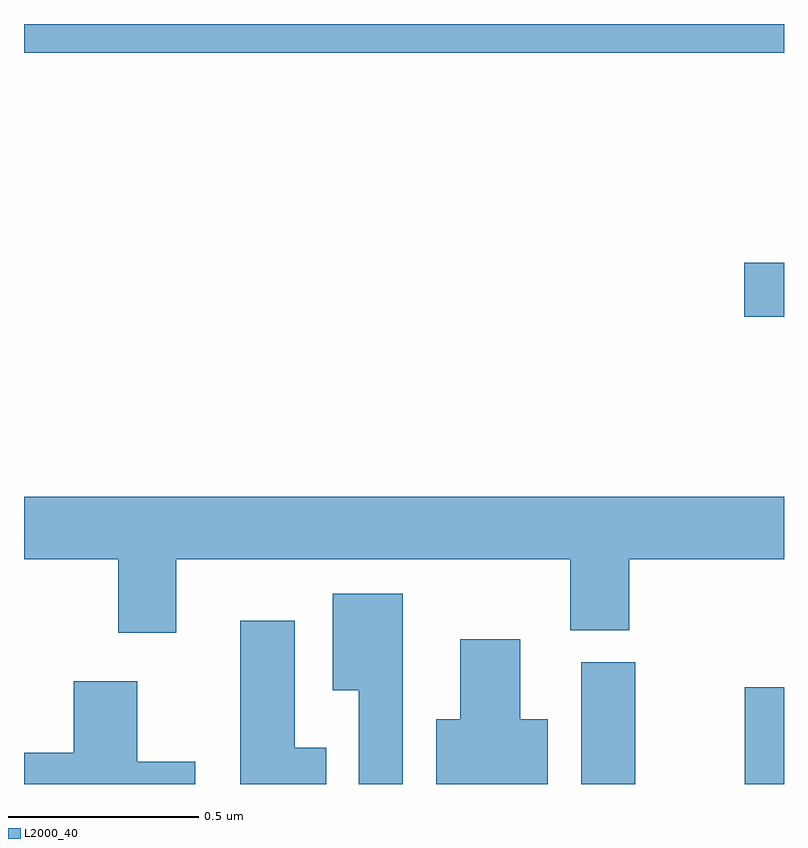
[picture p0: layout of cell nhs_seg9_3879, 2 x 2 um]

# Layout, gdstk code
import gdstk
lib = gdstk.Library(unit=1e-6, precision=1e-09)
def R(c, l, rs):  # rectangles x0, y0, x1, y1
    for r in rs: c.add(gdstk.rectangle(r[:2], r[2:], *l))
def P(c, l, *ps):  # polygons
    for p in ps: c.add(gdstk.Polygon(p, *l))
L2000_40 = (2000, 40)

nhs_seg9_3879 = lib.new_cell('nhs_seg9_3879')
R(nhs_seg9_3879, L2000_40, [(160.466,1190.5,160.608,1190.82), (160.897,1190.5,161,1190.755), (160.896,1191.73,161,1191.872), (159,1192.424,161,1192.5)])
P(nhs_seg9_3879, L2000_40, [(159.4,1191.092),(160.438,1191.092),(160.438,1190.905),(160.593,1190.905),(160.593,1191.092),(161,1191.092),(161,1191.256),(159,1191.256),(159,1191.092),(159.248,1191.092),(159.248,1190.898),(159.4,1190.898)],
  [(159.997,1191.001),(159.812,1191.001),(159.812,1190.747),(159.881,1190.747),(159.881,1190.5),(159.997,1190.5)],
  [(159.796,1190.596),(159.712,1190.596),(159.712,1190.929),(159.569,1190.929),(159.569,1190.5),(159.796,1190.5)],
  [(160.378,1190.671),(160.306,1190.671),(160.306,1190.881),(160.148,1190.881),(160.148,1190.671),(160.085,1190.671),(160.085,1190.5),(160.378,1190.5)],
  [(159.451,1190.559),(159.298,1190.559),(159.298,1190.77),(159.131,1190.77),(159.131,1190.582),(159,1190.582),(159,1190.5),(159.451,1190.5)])

lib.write_gds('nhs_seg9_3879.gds')
